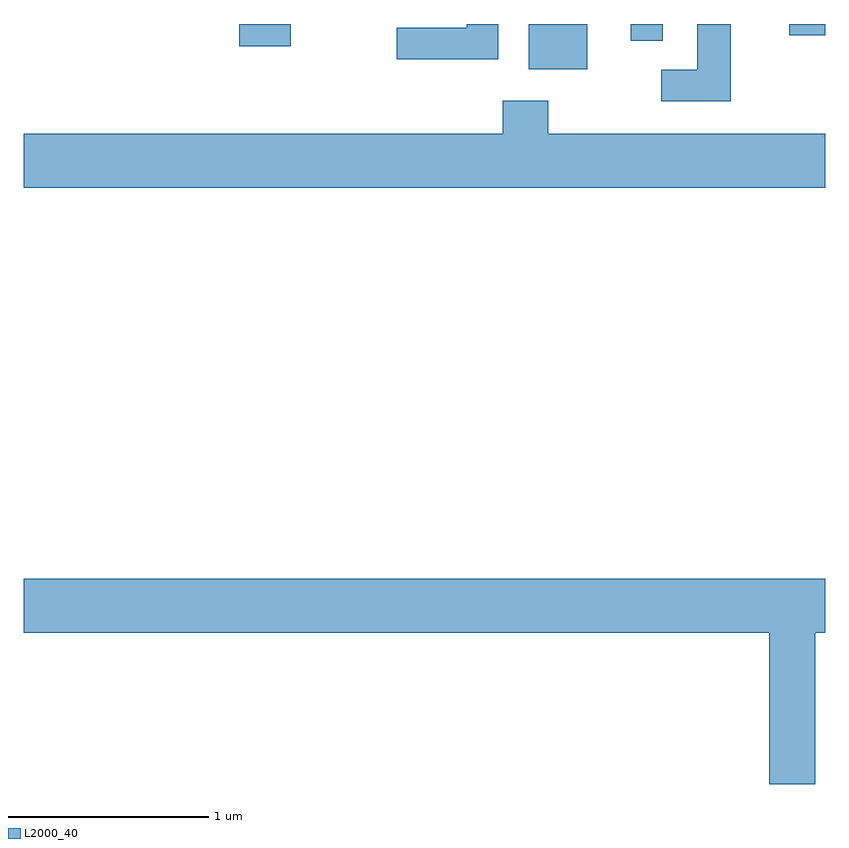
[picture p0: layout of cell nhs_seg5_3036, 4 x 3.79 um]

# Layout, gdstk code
import gdstk
lib = gdstk.Library(unit=1e-6, precision=1e-09)
def R(c, l, rs):  # rectangles x0, y0, x1, y1
    for r in rs: c.add(gdstk.rectangle(r[:2], r[2:], *l))
def P(c, l, *ps):  # polygons
    for p in ps: c.add(gdstk.Polygon(p, *l))
L2000_40 = (2000, 40)

nhs_seg5_3036 = lib.new_cell('nhs_seg5_3036')
R(nhs_seg5_3036, L2000_40, [(278.131,1441.846,278.424,1442.072), (276.686,1441.961,276.944,1442.072), (278.641,1441.988,278.799,1442.072), (279.431,1442.016,279.611,1442.072)])
P(nhs_seg5_3036, L2000_40, [(279.139,1442.072),(278.971,1442.072),(278.971,1441.844),(278.793,1441.844),(278.793,1441.686),(279.139,1441.686)],
  [(277.979,1442.072),(277.821,1442.072),(277.821,1442.054),(277.473,1442.054),(277.473,1441.896),(277.979,1441.896)],
  [(279.611,1441.524),(278.229,1441.524),(278.229,1441.689),(278.001,1441.689),(278.001,1441.524),(275.611,1441.524),(275.611,1441.256),(279.611,1441.256)],
  [(279.559,1439.036),(279.611,1439.036),(279.611,1439.304),(275.611,1439.304),(275.611,1439.036),(279.331,1439.036),(279.331,1438.281),(279.559,1438.281)])

lib.write_gds('nhs_seg5_3036.gds')
